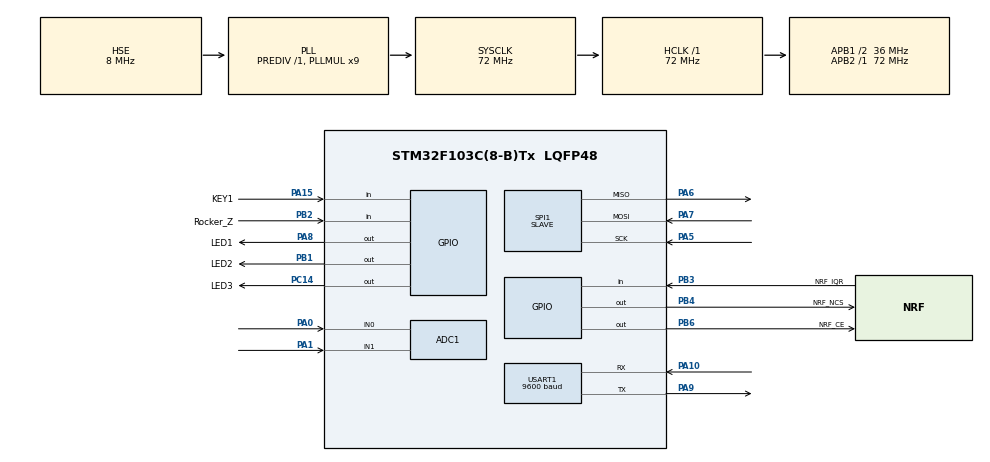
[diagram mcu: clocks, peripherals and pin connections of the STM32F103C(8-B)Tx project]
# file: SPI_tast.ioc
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ADC1.Channel-0\#ChannelRegularConversion=ADC_CHANNEL_0
ADC1.Channel-1\#ChannelRegularConversion=ADC_CHANNEL_1
ADC1.ContinuousConvMode=DISABLE
ADC1.DataAlign=ADC_DATAALIGN_RIGHT
ADC1.ExternalTrigConv=ADC_EXTERNALTRIGCONV_T3_TRGO
ADC1.NbrOfConversion=2
ADC1.NbrOfConversionFlag=1
ADC1.Rank-0\#ChannelRegularConversion=1
ADC1.Rank-1\#ChannelRegularConversion=2
ADC1.SamplingTime-0\#ChannelRegularConversion=ADC_SAMPLETIME_55CYCLES_5
ADC1.SamplingTime-1\#ChannelRegularConversion=ADC_SAMPLETIME_55CYCLES_5
ADC1.master=1
Dma.ADC1.2.Direction=DMA_PERIPH_TO_MEMORY
Dma.ADC1.2.Instance=DMA1_Channel1
Dma.ADC1.2.MemDataAlignment=DMA_MDATAALIGN_HALFWORD
Dma.ADC1.2.MemInc=DMA_MINC_ENABLE
Dma.ADC1.2.Mode=DMA_CIRCULAR
Dma.ADC1.2.PeriphDataAlignment=DMA_PDATAALIGN_HALFWORD
Dma.ADC1.2.PeriphInc=DMA_PINC_DISABLE
Dma.ADC1.2.Priority=DMA_PRIORITY_LOW
Dma.Request0=SPI1_RX
Dma.Request1=SPI1_TX
Dma.Request2=ADC1
Dma.SPI1_RX.0.Direction=DMA_PERIPH_TO_MEMORY
Dma.SPI1_RX.0.Instance=DMA1_Channel2
Dma.SPI1_RX.0.MemDataAlignment=DMA_MDATAALIGN_BYTE
Dma.SPI1_RX.0.MemInc=DMA_MINC_ENABLE
Dma.SPI1_RX.0.Mode=DMA_NORMAL
Dma.SPI1_RX.0.PeriphDataAlignment=DMA_PDATAALIGN_BYTE
Dma.SPI1_RX.0.PeriphInc=DMA_PINC_DISABLE
Dma.SPI1_RX.0.Priority=DMA_PRIORITY_LOW
Dma.SPI1_TX.1.Direction=DMA_MEMORY_TO_PERIPH
Dma.SPI1_TX.1.Instance=DMA1_Channel3
Dma.SPI1_TX.1.MemDataAlignment=DMA_MDATAALIGN_BYTE
Dma.SPI1_TX.1.MemInc=DMA_MINC_ENABLE
Dma.SPI1_TX.1.Mode=DMA_NORMAL
Dma.SPI1_TX.1.PeriphDataAlignment=DMA_PDATAALIGN_BYTE
Dma.SPI1_TX.1.PeriphInc=DMA_PINC_DISABLE
Dma.SPI1_TX.1.Priority=DMA_PRIORITY_LOW
Mcu.Family=STM32F1
Mcu.Name=STM32F103C(8-B)Tx
Mcu.Package=LQFP48
NVIC.ADC1_2_IRQn=true\:0\:0\:false\:false\:true\:true\:true\:true
NVIC.DMA1_Channel1_IRQn=true\:0\:0\:false\:false\:true\:false\:true\:true
NVIC.DMA1_Channel2_IRQn=true\:0\:0\:false\:false\:true\:false\:true\:true
NVIC.DMA1_Channel3_IRQn=true\:0\:0\:false\:false\:true\:false\:true\:true
NVIC.PriorityGroup=NVIC_PRIORITYGROUP_4
NVIC.SPI1_IRQn=true\:0\:0\:false\:false\:true\:true\:true\:true
NVIC.TIM3_IRQn=true\:0\:0\:false\:false\:true\:true\:true\:true
PA0-WKUP.Signal=ADCx_IN0
PA1.Signal=ADCx_IN1
PA10.Mode=Asynchronous
PA10.Signal=USART1_RX
PA13.Mode=Serial_Wire
PA13.Signal=SYS_JTMS-SWDIO
PA14.Mode=Serial_Wire
PA14.Signal=SYS_JTCK-SWCLK
PA15.GPIO_Label=KEY1
PA15.GPIO_PuPd=GPIO_PULLUP
PA15.Signal=GPIO_Input
PA5.Mode=Full_Duplex_Slave
PA5.Signal=SPI1_SCK
PA6.Mode=Full_Duplex_Slave
PA6.Signal=SPI1_MISO
PA7.Mode=Full_Duplex_Slave
PA7.Signal=SPI1_MOSI
PA8.GPIO_Label=LED1
PA8.GPIO_Speed=GPIO_SPEED_FREQ_MEDIUM
PA8.Signal=GPIO_Output
PA9.Mode=Asynchronous
PA9.Signal=USART1_TX
PB1.GPIO_Label=LED2
PB1.GPIO_Speed=GPIO_SPEED_FREQ_MEDIUM
PB1.Signal=GPIO_Output
PB2.GPIO_Label=Rocker_Z
PB2.GPIO_PuPd=GPIO_PULLUP
PB2.Signal=GPIO_Input
PB3.GPIO_Label=NRF_IQR
PB3.GPIO_PuPd=GPIO_PULLUP
PB3.Signal=GPIO_Input
PB4.GPIO_Label=NRF_NCS
PB4.GPIO_ModeDefaultOutputPP=GPIO_MODE_OUTPUT_PP
PB4.GPIO_Speed=GPIO_SPEED_FREQ_HIGH
PB4.PinState=GPIO_PIN_SET
PB4.Signal=GPIO_Output
PB6.GPIO_Label=NRF_CE
PB6.GPIO_Speed=GPIO_SPEED_FREQ_HIGH
PB6.PinState=GPIO_PIN_SET
PB6.Signal=GPIO_Output
PC14-OSC32_IN.GPIO_Label=LED3
PC14-OSC32_IN.GPIO_Speed=GPIO_SPEED_FREQ_MEDIUM
PC14-OSC32_IN.Signal=GPIO_Output
PD0-OSC_IN.Mode=HSE-External-Oscillator
PD0-OSC_IN.Signal=RCC_OSC_IN
PD1-OSC_OUT.Mode=HSE-External-Oscillator
PD1-OSC_OUT.Signal=RCC_OSC_OUT
ProjectManager.HeapSize=0x200
ProjectManager.StackSize=0x400
ProjectManager.TargetToolchain=MDK-ARM V5.32
RCC.ADCPresc=RCC_ADCPCLK2_DIV6
RCC.AHBFreq_Value=72000000
RCC.APB1CLKDivider=RCC_HCLK_DIV2
RCC.APB1Freq_Value=36000000
RCC.APB1TimFreq_Value=72000000
RCC.APB2Freq_Value=72000000
RCC.APB2TimFreq_Value=72000000
RCC.HCLKFreq_Value=72000000
RCC.PLLMUL=RCC_PLL_MUL9
RCC.PLLSourceVirtual=RCC_PLLSOURCE_HSE
RCC.SYSCLKFreq_VALUE=72000000
RCC.SYSCLKSource=RCC_SYSCLKSOURCE_PLLCLK
RCC.USBFreq_Value=72000000
SH.ADCx_IN0.0=ADC1_IN0,IN0
SH.ADCx_IN1.0=ADC1_IN1,IN1
SPI1.DataSize=SPI_DATASIZE_8BIT
SPI1.Direction=SPI_DIRECTION_2LINES
SPI1.Mode=SPI_MODE_SLAVE
SPI1.VirtualType=VM_SLAVE
TIM3.AutoReloadPreload=TIM_AUTORELOAD_PRELOAD_ENABLE
TIM3.Period=10
TIM3.Prescaler=71
TIM3.TIM_MasterOutputTrigger=TIM_TRGO_UPDATE
USART1.BaudRate=9600
USART1.VirtualMode=VM_ASYNC
VP_TIM3_VS_ClockSourceINT.Mode=Internal
board=custom

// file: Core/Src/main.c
/* USER CODE BEGIN Header */
/**
  ******************************************************************************
  * @file           : main.c
  * @brief          : Main program body
  ******************************************************************************
  * @attention
  *
  * Copyright (c) 2024 STMicroelectronics.
  * All rights reserved.
  *
  * This software is licensed under terms that can be found in the LICENSE file
  * in the root directory of this software component.
  * If no LICENSE file comes with this software, it is provided AS-IS.
  *
  ******************************************************************************
  */
/* USER CODE END Header */
#include "main.h"
#include "adc.h"
#include "dma.h"
#include "spi.h"
#include "tim.h"
#include "usart.h"
#include "gpio.h"

/* USER CODE BEGIN Includes */
#include "stdio.h"
#include "rocker.h"
#include "NRF24L01.h"
#include "bsp_spi.h"
#include "romate_control.h"
/* USER CODE END Includes */

/* USER CODE BEGIN PTD */
uint8_t send_data[32];
/* USER CODE END PTD */

/* USER CODE BEGIN PD */

extern nrf24l01_t nrf24l01_1;
extern SPI_t spi_1;
/* USER CODE END PD */

void SystemClock_Config(void);

int main(void)
{

  /* MCU Configuration--------------------------------------------------------*/

  /* Reset of all peripherals, Initializes the Flash interface and the Systick. */
  HAL_Init();

  /* Configure the system clock */
  SystemClock_Config();

  /* Initialize all configured peripherals */
  MX_GPIO_Init();
  MX_DMA_Init();
  MX_SPI1_Init();
  MX_USART1_UART_Init();
  MX_ADC1_Init();
  MX_TIM3_Init();
  /* USER CODE BEGIN 2 */
		void contrul_24G();

	//HAL_ADCEx_Calibration_Start(&hadc1);
	printf("初始哈\r\n");
  /* USER CODE END 2 */

  /* Infinite loop */
  /* USER CODE BEGIN WHILE */
  while (1)
  {
    HAL_Delay(100);

		if(NRF24L01_RxPacket(&nrf24l01_1,send_data)==0)
		{
		printf("send_成功\r\n");
		for(int i=0;i<=32;i++)
			{
			printf("%d\r\n",send_data[i]);
			}
		}

    /* USER CODE END WHILE */

  }
}

void SystemClock_Config(void)
{
  RCC_OscInitTypeDef RCC_OscInitStruct = {0};
  RCC_ClkInitTypeDef RCC_ClkInitStruct = {0};
  RCC_PeriphCLKInitTypeDef PeriphClkInit = {0};

  /** Initializes the RCC Oscillators according to the specified parameters
  * in the RCC_OscInitTypeDef structure.
  */
  RCC_OscInitStruct.OscillatorType = RCC_OSCILLATORTYPE_HSE;
  RCC_OscInitStruct.HSEState = RCC_HSE_ON;
  RCC_OscInitStruct.HSEPredivValue = RCC_HSE_PREDIV_DIV1;
  RCC_OscInitStruct.HSIState = RCC_HSI_ON;
  RCC_OscInitStruct.PLL.PLLState = RCC_PLL_ON;
  RCC_OscInitStruct.PLL.PLLSource = RCC_PLLSOURCE_HSE;
  RCC_OscInitStruct.PLL.PLLMUL = RCC_PLL_MUL9;
  if (HAL_RCC_OscConfig(&RCC_OscInitStruct) != HAL_OK)
  {
    Error_Handler();
  }

  /** Initializes the CPU, AHB and APB buses clocks
  */
  RCC_ClkInitStruct.ClockType = RCC_CLOCKTYPE_HCLK|RCC_CLOCKTYPE_SYSCLK
                              |RCC_CLOCKTYPE_PCLK1|RCC_CLOCKTYPE_PCLK2;
  RCC_ClkInitStruct.SYSCLKSource = RCC_SYSCLKSOURCE_PLLCLK;
  RCC_ClkInitStruct.AHBCLKDivider = RCC_SYSCLK_DIV1;
  RCC_ClkInitStruct.APB1CLKDivider = RCC_HCLK_DIV2;
  RCC_ClkInitStruct.APB2CLKDivider = RCC_HCLK_DIV1;

  if (HAL_RCC_ClockConfig(&RCC_ClkInitStruct, FLASH_LATENCY_2) != HAL_OK)
  {
    Error_Handler();
  }
  PeriphClkInit.PeriphClockSelection = RCC_PERIPHCLK_ADC;
  PeriphClkInit.AdcClockSelection = RCC_ADCPCLK2_DIV6;
  if (HAL_RCCEx_PeriphCLKConfig(&PeriphClkInit) != HAL_OK)
  {
    Error_Handler();
  }
}

void Error_Handler(void)
{
  __disable_irq();
  while (1)
  {
  }
}
